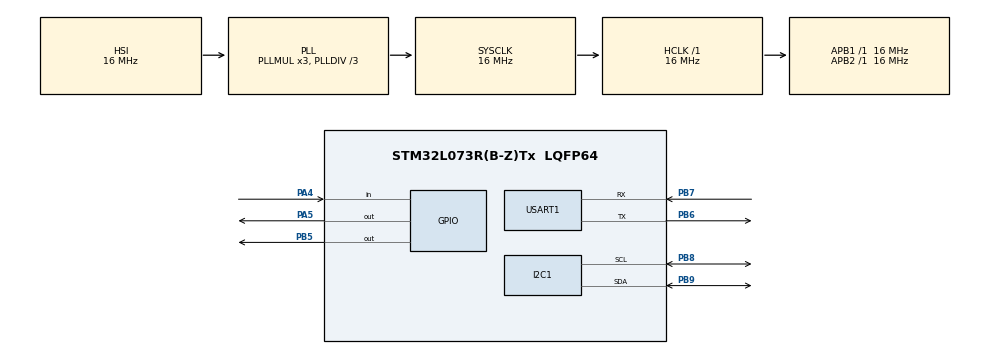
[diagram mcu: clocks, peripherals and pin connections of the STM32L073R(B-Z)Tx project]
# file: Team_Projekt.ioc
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I2C1.Timing=0x00303D5B
Mcu.Family=STM32L0
Mcu.Name=STM32L073R(B-Z)Tx
Mcu.Package=LQFP64
PA0.Mode=SYS_WakeUp0
PA0.Signal=SYS_WKUP1
PA13.Mode=Serial_Wire
PA13.Signal=SYS_SWDIO
PA14.Mode=Serial_Wire
PA14.Signal=SYS_SWCLK
PA4.GPIO_Mode=GPIO_MODE_INPUT
PA4.GPIO_PuPd=GPIO_PULLUP
PA4.Signal=GPIO_Input
PA5.GPIO_PuPd=GPIO_NOPULL
PA5.Signal=GPIO_Output
PB5.GPIO_PuPd=GPIO_PULLUP
PB5.Signal=GPIO_Output
PB6.Mode=Asynchronous
PB6.Signal=USART1_TX
PB7.Mode=Asynchronous
PB7.Signal=USART1_RX
PB8.Mode=I2C
PB8.Signal=I2C1_SCL
PB9.Mode=I2C
PB9.Signal=I2C1_SDA
PH0-OSC_IN.Mode=HSE-External-Oscillator
PH0-OSC_IN.Signal=RCC_OSC_IN
PH1-OSC_OUT.Mode=HSE-External-Oscillator
PH1-OSC_OUT.Signal=RCC_OSC_OUT
ProjectManager.HeapSize=0x200
ProjectManager.StackSize=0x400
ProjectManager.TargetToolchain=STM32CubeIDE
RCC.AHBFreq_Value=16000000
RCC.APB1Freq_Value=16000000
RCC.APB1TimFreq_Value=16000000
RCC.APB2Freq_Value=16000000
RCC.APB2TimFreq_Value=16000000
RCC.HCLKFreq_Value=16000000
RCC.HSE_VALUE=8000000
RCC.HSI16_VALUE=16000000
RCC.HSI48_VALUE=48000000
RCC.HSI_VALUE=16000000
RCC.LSE_VALUE=32768
RCC.MSI_VALUE=2097000
RCC.PLLDIV=RCC_PLLDIV_3
RCC.SYSCLKFreq_VALUE=16000000
RCC.SYSCLKSource=RCC_SYSCLKSOURCE_PLLCLK
RCC.VCOOutputFreq_Value=48000000
USART1.VirtualMode-Asynchronous=VM_ASYNC
board=custom

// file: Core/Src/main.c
/* USER CODE BEGIN Header */
/**
  ******************************************************************************
  * @file           : main.c
  * @brief          : Main program body
  ******************************************************************************
  * @attention
  *
  * Copyright (c) 2023 STMicroelectronics.
  * All rights reserved.
  *
  * This software is licensed under terms that can be found in the LICENSE file
  * in the root directory of this software component.
  * If no LICENSE file comes with this software, it is provided AS-IS.
  *
  ******************************************************************************
  */
/* USER CODE END Header */
#include "main.h"

/* USER CODE BEGIN PD */

#define PCF8523_Address 0x68//0xD0 // I2C Adresse oder 0x68 ?
#define Control_1 0x00
#define Control_2 0x01
#define Control_3 0x02
#define Tmr_CLKOUT_ctrl 0x0F

#define Tmr_A_freq_ctrl 0x10
#define Tmr_A_reg 0x11

#define PCF8523_TIMER_B_FRCTL 0x12
#define PCF8523_TIMER_B_VALUE 0x13
#define PCF8523_OFFSET 0x0E
#define PCF8523_STATUSREG 0x03

#define RV3028C7_Address 0x52 //oder 0xA4
#define RV_Timer_Val_0 0x0A
#define RV_Timer_Val_1 0x0B
#define RV_Status 0x0E
#define RV_Control_1 0x0F
#define RV_Control_2 0x10
#define RV_EEPROM_Backup 0x37

/* USER CODE END PD */

I2C_HandleTypeDef hi2c1;

UART_HandleTypeDef huart1;

/* USER CODE BEGIN PV */

uint8_t buffer[6];
uint8_t zwei = 0x02;
uint8_t dreißig = 0x05;

/* USER CODE END PV */

void SystemClock_Config(void);
static void MX_GPIO_Init(void);
static void MX_I2C1_Init(void);
static void MX_USART1_UART_Init(void);

/* USER CODE BEGIN 0 */

typedef enum {
	RTC_RV_MODE,
	RTC_PCF_MODE,
	DATA_MODE,
	SLEEP_MODE

} Mode;

void RV3028C7_Backup()
{
	uint8_t backup = 0x00;
	HAL_I2C_Mem_Write(&hi2c1, RV3028C7_Address << 1, RV_EEPROM_Backup, 1,  &backup, 1, 1000); //reset

	backup |= (1 << 2);
	HAL_I2C_Mem_Write(&hi2c1, RV3028C7_Address << 1, RV_EEPROM_Backup, 1,  &backup, 1, 1000);
}

void RV3028C7_Reset()
{
	uint8_t TE;
	HAL_I2C_Mem_Read(&hi2c1, RV3028C7_Address << 1, RV_Control_1, 1, &TE, 1, 1000); // lesen von register
	TE &= ~(1 << 2);
	HAL_I2C_Mem_Write(&hi2c1, RV3028C7_Address << 1, RV_Control_1, 1,  &TE, 1, 1000);

	uint8_t TIE;
	HAL_I2C_Mem_Read(&hi2c1, RV3028C7_Address << 1, RV_Control_2, 1, &TIE, 1, 1000); // lesen von register
	TIE &= ~(1 << 4);
	HAL_I2C_Mem_Write(&hi2c1, RV3028C7_Address << 1, RV_Control_2, 1,  &TIE, 1, 1000);

	uint8_t TF;
	HAL_I2C_Mem_Read(&hi2c1, RV3028C7_Address << 1, RV_Status, 1, &TF, 1, 1000); // lesen von register
	TF &= ~(1 << 3);
	HAL_I2C_Mem_Write(&hi2c1, RV3028C7_Address << 1, RV_Status, 1,  &TF, 1, 1000);

}

void RV3028C7_Init(uint8_t timer_val)
{

	uint8_t TRPT;
	HAL_I2C_Mem_Read(&hi2c1, RV3028C7_Address << 1, RV_Control_1, 1, &TRPT, 1, 1000); // lesen von register
	TRPT |= (1 << 7);
	HAL_I2C_Mem_Write(&hi2c1, RV3028C7_Address << 1, RV_Control_1, 1,  &TRPT, 1, 1000);

	uint8_t TD;
	HAL_I2C_Mem_Read(&hi2c1, RV3028C7_Address << 1, RV_Control_1, 1, &TD, 1, 1000); // lesen von register
	TD |= 0x02;
	HAL_I2C_Mem_Write(&hi2c1, RV3028C7_Address << 1, RV_Control_1, 1,  &TD, 1, 1000);

	HAL_I2C_Mem_Write(&hi2c1, RV3028C7_Address << 1, RV_Timer_Val_0, 1,  &timer_val, 1, 1000);

	uint8_t TIE;
	HAL_I2C_Mem_Read(&hi2c1, RV3028C7_Address << 1, RV_Control_2, 1, &TIE, 1, 1000); // lesen von register
	TIE |= (1 << 4);
	HAL_I2C_Mem_Write(&hi2c1, RV3028C7_Address << 1, RV_Control_2, 1,  &TIE, 1, 1000);

	uint8_t TE;
	HAL_I2C_Mem_Read(&hi2c1, RV3028C7_Address << 1, RV_Control_1, 1, &TE, 1, 1000); // lesen von register
	TE |= (1 << 2);
	HAL_I2C_Mem_Write(&hi2c1, RV3028C7_Address << 1, RV_Control_1, 1,  &TE, 1, 1000);

}

void TimerA_Enable_interrupt()
{
	uint8_t EnIn;

	HAL_I2C_Mem_Read(&hi2c1, PCF8523_Address << 1, Control_2, 1, &EnIn, 1, 1000); // lesen von register

	EnIn |= 0x02; // setzen von interrupt enable bit

	HAL_I2C_Mem_Write(&hi2c1, PCF8523_Address << 1, Control_2, 1,  &EnIn, 1, 1000); // schreiben des registers mit gesetztem bit
}

void TimerA_Init(uint8_t val)
{
	uint8_t reset = 0x00;
	HAL_I2C_Mem_Write(&hi2c1, PCF8523_Address << 1, Tmr_CLKOUT_ctrl, 1,  &reset, 1, 1000); //reset

	uint8_t control;
	HAL_I2C_Mem_Read(&hi2c1, PCF8523_Address << 1, Tmr_CLKOUT_ctrl, 1, &control, 1, 1000); // lesen von clock out register
	control |= 0xBA;// clkout deaktiviert, pulsed interrupt für timerA, timerA als countdown timer

	HAL_I2C_Mem_Write(&hi2c1, PCF8523_Address << 1, Tmr_CLKOUT_ctrl, 1,  &control, 1, 1000);

	uint8_t freq = 0x02; // Frequenz 1 Hz
	HAL_I2C_Mem_Write(&hi2c1, PCF8523_Address << 1, Tmr_A_freq_ctrl, 1, &freq, 1, 1000); // schreiben von frequenz register

	uint8_t value = val; // Wert fürs herunterzählen setzen
	HAL_I2C_Mem_Write(&hi2c1, PCF8523_Address << 1, Tmr_A_reg, 1, &value, 1, 1000);

}

void TimerB_Enable_interrupt()
{
	uint8_t EnInB;

	HAL_I2C_Mem_Read(&hi2c1, PCF8523_Address << 1, Control_2, 1, &EnInB, 1, 1000); // lesen von register

	EnInB |= 0x01; // setzen von interrupt enable bit

	HAL_I2C_Mem_Write(&hi2c1, PCF8523_Address << 1, Control_2, 1,  &EnInB, 1, 1000); // schreiben des registers mit gesetztem bit
}

void TimerB_Init(uint8_t val)
{
	uint8_t B_reset = 0x00;
	HAL_I2C_Mem_Write(&hi2c1, PCF8523_Address << 1, Tmr_CLKOUT_ctrl, 1,  &B_reset, 1, 1000); //reset

	uint8_t B_control;
	HAL_I2C_Mem_Read(&hi2c1, PCF8523_Address << 1, Tmr_CLKOUT_ctrl, 1, &B_control, 1, 1000); // lesen von clock out register
	B_control |= 0x79; // clkout deaktiviert, pulsed interrupt für timerA, timerA als countdown timer
	HAL_I2C_Mem_Write(&hi2c1, PCF8523_Address << 1, Tmr_CLKOUT_ctrl, 1,  &B_control, 1, 1000);

	uint8_t B_freq = 0x02; // clkout deaktiviert, pulsed interrupt für timerA, timerA als countdown timer
	HAL_I2C_Mem_Write(&hi2c1, PCF8523_Address << 1, PCF8523_TIMER_B_FRCTL, 1,  &B_freq, 1, 1000);

	uint8_t B_value = val; // Wert fürs herunterzählen setzen
	HAL_I2C_Mem_Write(&hi2c1, PCF8523_Address << 1, PCF8523_TIMER_B_VALUE, 1, &B_value, 1, 1000);

}

void Bat_Mode()
{

	uint8_t battery = 0x00;
	HAL_I2C_Mem_Write(&hi2c1, PCF8523_Address << 1, Control_3, 1,  &battery, 1, 1000); //reset

	//uint8_t battery;
	//HAL_I2C_Mem_Read(&hi2c1, PCF8523_Address << 1, Control_3, 1,  &battery, 1, 1000); //control 3 register lesen

	battery |= (1 << 7);

	HAL_I2C_Mem_Write(&hi2c1, PCF8523_Address << 1, Control_3, 1, &battery, 1, 1000); // batterie mode aktiviert
}

void Go_To_Standby()
{

	  __HAL_PWR_CLEAR_FLAG(PWR_FLAG_WU);

	  HAL_PWR_EnableWakeUpPin(PWR_WAKEUP_PIN1);

	  HAL_PWR_EnterSTANDBYMode();
}

void Reset_PCF(void)
{
	uint8_t pcf_reset = 0x58;

	HAL_I2C_Mem_Write(&hi2c1, PCF8523_Address << 1, Control_1, 1, &pcf_reset, 1, 1000);
}

void chooseMode(Mode m)
{

	  switch (m){

	  case RTC_RV_MODE:

	  case RTC_PCF_MODE:

	  case DATA_MODE:

	  case SLEEP_MODE:

	  default:

		  break;

	  }

}

/* USER CODE END 0 */

int main(void)
{

  /* MCU Configuration--------------------------------------------------------*/

  /* Reset of all peripherals, Initializes the Flash interface and the Systick. */
  HAL_Init();

  /* Configure the system clock */
  SystemClock_Config();

  /* Initialize all configured peripherals */
  MX_GPIO_Init();
  MX_I2C1_Init();
  MX_USART1_UART_Init();
  /* USER CODE BEGIN 2 */

/*******************************************************************Standby***************************************************************************************/

/*
  if(__HAL_PWR_GET_FLAG(PWR_FLAG_SB) != RESET)
  {
	  __HAL_PWR_CLEAR_FLAG(PWR_FLAG_SB);

	  HAL_GPIO_WritePin(GPIOA, GPIO_PIN_5, GPIO_PIN_SET);
	  HAL_Delay(500);
	  HAL_GPIO_WritePin(GPIOA, GPIO_PIN_5, GPIO_PIN_RESET);
	  HAL_PWR_DisableWakeUpPin(PWR_WAKEUP_PIN1); //disable PA0

  }

  Go_To_Standby();
*/

  /*******************************************************************Clock***************************************************************************************/

  //Clock_Devider();

  /*******************************************************************RTC***************************************************************************************/

  //PCF8523_Address oder RV3028C7_Address PCF8523_Address
  /*
  if(HAL_I2C_IsDeviceReady(&hi2c1, RV3028C7_Address << 1, 2, 100) == HAL_OK)
  {
	  HAL_GPIO_WritePin(GPIOA, GPIO_PIN_5, GPIO_PIN_SET);
	  HAL_Delay(1000);
	  HAL_GPIO_WritePin(GPIOA, GPIO_PIN_5, GPIO_PIN_RESET);
	  HAL_Delay(1000);
  }

  uint8_t periode = 10;
  RV3028C7_Reset();
  RV3028C7_Init(periode);
  RV3028C7_Backup();
*/
/*
  Reset_PCF();

  TimerA_Enable_interrupt();
  TimerA_Init(0x0A);
  Bat_Mode();
*/

/*
  TimerB_Enable_interrupt();
  TimerB_Init(0x0A);
  Bat_Mode();
*/

  /**********************************************************************************************************************************************************/

  //I2C_Init();
  //Battery_Mode();
  //Set_Time(0);
  uint8_t interrupt;
  //buffer[0] = 0x02;

  /* USER CODE END 2 */

  /* Infinite loop */
  while (1)
  {

    /* USER CODE BEGIN 3 */

	  interrupt = HAL_GPIO_ReadPin(GPIOA, GPIO_PIN_4);

	  if (interrupt == 0)
	  {

		  HAL_GPIO_WritePin(GPIOA, GPIO_PIN_5, GPIO_PIN_SET);
		  HAL_Delay(1000);//1000
		  HAL_GPIO_WritePin(GPIOA, GPIO_PIN_5, GPIO_PIN_RESET);
		  //HAL_Delay(1000);

	  }

  }
  /* USER CODE END 3 */
}

void SystemClock_Config(void)
{
  RCC_OscInitTypeDef RCC_OscInitStruct = {0};
  RCC_ClkInitTypeDef RCC_ClkInitStruct = {0};
  RCC_PeriphCLKInitTypeDef PeriphClkInit = {0};

  /** Configure the main internal regulator output voltage
  */
  __HAL_PWR_VOLTAGESCALING_CONFIG(PWR_REGULATOR_VOLTAGE_SCALE1);

  /** Initializes the RCC Oscillators according to the specified parameters
  * in the RCC_OscInitTypeDef structure.
  */
  RCC_OscInitStruct.OscillatorType = RCC_OSCILLATORTYPE_HSI;
  RCC_OscInitStruct.HSIState = RCC_HSI_ON;
  RCC_OscInitStruct.HSICalibrationValue = RCC_HSICALIBRATION_DEFAULT;
  RCC_OscInitStruct.PLL.PLLState = RCC_PLL_ON;
  RCC_OscInitStruct.PLL.PLLSource = RCC_PLLSOURCE_HSI;
  RCC_OscInitStruct.PLL.PLLMUL = RCC_PLLMUL_3;
  RCC_OscInitStruct.PLL.PLLDIV = RCC_PLLDIV_3;
  if (HAL_RCC_OscConfig(&RCC_OscInitStruct) != HAL_OK)
  {
    Error_Handler();
  }

  /** Initializes the CPU, AHB and APB buses clocks
  */
  RCC_ClkInitStruct.ClockType = RCC_CLOCKTYPE_HCLK|RCC_CLOCKTYPE_SYSCLK
                              |RCC_CLOCKTYPE_PCLK1|RCC_CLOCKTYPE_PCLK2;
  RCC_ClkInitStruct.SYSCLKSource = RCC_SYSCLKSOURCE_PLLCLK;
  RCC_ClkInitStruct.AHBCLKDivider = RCC_SYSCLK_DIV1;
  RCC_ClkInitStruct.APB1CLKDivider = RCC_HCLK_DIV1;
  RCC_ClkInitStruct.APB2CLKDivider = RCC_HCLK_DIV1;

  if (HAL_RCC_ClockConfig(&RCC_ClkInitStruct, FLASH_LATENCY_0) != HAL_OK)
  {
    Error_Handler();
  }
  PeriphClkInit.PeriphClockSelection = RCC_PERIPHCLK_USART1|RCC_PERIPHCLK_I2C1;
  PeriphClkInit.Usart1ClockSelection = RCC_USART1CLKSOURCE_PCLK2;
  PeriphClkInit.I2c1ClockSelection = RCC_I2C1CLKSOURCE_PCLK1;
  if (HAL_RCCEx_PeriphCLKConfig(&PeriphClkInit) != HAL_OK)
  {
    Error_Handler();
  }
}

static void MX_I2C1_Init(void)
{

  hi2c1.Instance = I2C1;
  hi2c1.Init.Timing = 0x00303D5B;
  hi2c1.Init.OwnAddress1 = 0;
  hi2c1.Init.AddressingMode = I2C_ADDRESSINGMODE_7BIT;
  hi2c1.Init.DualAddressMode = I2C_DUALADDRESS_DISABLE;
  hi2c1.Init.OwnAddress2 = 0;
  hi2c1.Init.OwnAddress2Masks = I2C_OA2_NOMASK;
  hi2c1.Init.GeneralCallMode = I2C_GENERALCALL_DISABLE;
  hi2c1.Init.NoStretchMode = I2C_NOSTRETCH_DISABLE;
  if (HAL_I2C_Init(&hi2c1) != HAL_OK)
  {
    Error_Handler();
  }

  if (HAL_I2CEx_ConfigAnalogFilter(&hi2c1, I2C_ANALOGFILTER_ENABLE) != HAL_OK)
  {
    Error_Handler();
  }

  if (HAL_I2CEx_ConfigDigitalFilter(&hi2c1, 0) != HAL_OK)
  {
    Error_Handler();
  }

}

static void MX_USART1_UART_Init(void)
{

  huart1.Instance = USART1;
  huart1.Init.BaudRate = 115200;
  huart1.Init.WordLength = UART_WORDLENGTH_8B;
  huart1.Init.StopBits = UART_STOPBITS_1;
  huart1.Init.Parity = UART_PARITY_NONE;
  huart1.Init.Mode = UART_MODE_TX_RX;
  huart1.Init.HwFlowCtl = UART_HWCONTROL_NONE;
  huart1.Init.OverSampling = UART_OVERSAMPLING_16;
  huart1.Init.OneBitSampling = UART_ONE_BIT_SAMPLE_DISABLE;
  huart1.AdvancedInit.AdvFeatureInit = UART_ADVFEATURE_NO_INIT;
  if (HAL_UART_Init(&huart1) != HAL_OK)
  {
    Error_Handler();
  }

}

static void MX_GPIO_Init(void)
{
  GPIO_InitTypeDef GPIO_InitStruct = {0};

  /* GPIO Ports Clock Enable */
  __HAL_RCC_GPIOH_CLK_ENABLE();
  __HAL_RCC_GPIOA_CLK_ENABLE();
  __HAL_RCC_GPIOB_CLK_ENABLE();

  /*Configure GPIO pin Output Level */
  HAL_GPIO_WritePin(GPIOA, GPIO_PIN_5, GPIO_PIN_RESET);

  /*Configure GPIO pin Output Level */
  HAL_GPIO_WritePin(GPIOB, GPIO_PIN_5, GPIO_PIN_RESET);

  /*Configure GPIO pin : PA4 */
  GPIO_InitStruct.Pin = GPIO_PIN_4;
  GPIO_InitStruct.Mode = GPIO_MODE_INPUT;
  GPIO_InitStruct.Pull = GPIO_PULLUP;
  HAL_GPIO_Init(GPIOA, &GPIO_InitStruct);

  /*Configure GPIO pin : PA5 */
  GPIO_InitStruct.Pin = GPIO_PIN_5;
  GPIO_InitStruct.Mode = GPIO_MODE_OUTPUT_PP;
  GPIO_InitStruct.Pull = GPIO_NOPULL;
  GPIO_InitStruct.Speed = GPIO_SPEED_FREQ_LOW;
  HAL_GPIO_Init(GPIOA, &GPIO_InitStruct);

  /*Configure GPIO pin : PB5 */
  GPIO_InitStruct.Pin = GPIO_PIN_5;
  GPIO_InitStruct.Mode = GPIO_MODE_OUTPUT_PP;
  GPIO_InitStruct.Pull = GPIO_PULLUP;
  GPIO_InitStruct.Speed = GPIO_SPEED_FREQ_LOW;
  HAL_GPIO_Init(GPIOB, &GPIO_InitStruct);

}

void Error_Handler(void)
{
  __disable_irq();
  while (1)
  {
  }
}
